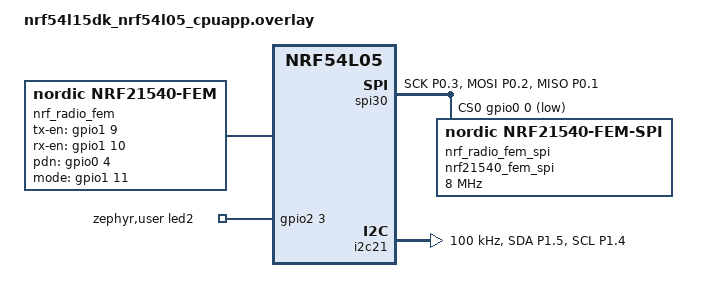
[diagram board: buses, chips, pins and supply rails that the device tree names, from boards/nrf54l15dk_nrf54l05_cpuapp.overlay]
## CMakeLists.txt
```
cmake_minimum_required(VERSION 3.20.0)

find_package(Zephyr REQUIRED HINTS $ENV{ZEPHYR_BASE})
project(range_pong LANGUAGES C CXX)

# The nPM2100 driver is shared with the main application, unmodified; the frame
# format is shared with tools/range_ping.
target_include_directories(app PRIVATE ../../src ../range_common)
target_sources(app PRIVATE
  src/main.cpp
  ../../src/npm2100.cpp
  ../../src/npm2100_zephyr.cpp
)
```

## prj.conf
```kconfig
# Range test, pong side - CLASS MFS_1 hardware. See ../range_ping/README.md.

CONFIG_CPP=y
CONFIG_STD_CPP20=y
CONFIG_REQUIRES_FULL_LIBCPP=y

CONFIG_GPIO=y

# The nPM2100 boot monitor must be stopped over I2C or it resets the SoC ~9 s
# after boot (see ../../src/app.cpp App::initPmic()).
CONFIG_I2C=y

# Observer (pings) and broadcaster (pongs), extended advertising on the Coded PHY.
CONFIG_BT=y
CONFIG_BT_OBSERVER=y
CONFIG_BT_BROADCASTER=y
CONFIG_BT_EXT_ADV=y
CONFIG_BT_CTLR_ADV_EXT=y
CONFIG_BT_CTLR_PHY_CODED=y
CONFIG_BT_EXT_ADV_CODING_SELECTION=y
CONFIG_BT_DEVICE_NAME="MFS1-RangePong"
CONFIG_BT_RX_STACK_SIZE=2048

# nRF21540 FEM, driven by MPSL: PA on transmit, LNA (+13 dB) on receive. POUTB
# (+10 dB) as alc_drawer_master, for Irish EIRP compliance: the controller splits
# the requested +10 dBm into 0 dBm from the SoC plus 10 dB from the FEM.
# Without this the FEM sits powered down in the RF path and both directions suffer.
CONFIG_MPSL_FEM=y
CONFIG_MPSL_FEM_NRF21540_GPIO_SPI=y
CONFIG_MPSL_FEM_NRF21540_TX_GAIN_DB=10
CONFIG_BT_CTLR_TX_PWR_ANTENNA=10

# The DK console UART (uart20) sits on P1.04 / P1.05 = the nPM2100 I2C bus here.
CONFIG_SERIAL=n
CONFIG_CONSOLE=n
CONFIG_UART_CONSOLE=n

# RTT logging (house style).
CONFIG_LOG=y
CONFIG_USE_SEGGER_RTT=y
CONFIG_LOG_BACKEND_RTT=y
CONFIG_LOG_BACKEND_UART=n

CONFIG_MAIN_STACK_SIZE=2048
```

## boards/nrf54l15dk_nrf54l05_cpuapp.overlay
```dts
/*
 * CLASS MFS_1 hardware, first full revision - range test pong.
 *
 *   I2C 1 (i2c21) - nPM2100 at 0x74: SCL P1.04, SDA P1.05 (boot monitor stop only)
 *   LED2 P2.03 - flashes on each new ping
 *   nRF21540 FEM, as alc_drawer_master: SPI (spi30) SCK P0.03, MOSI P0.02,
 *   MISO P0.01, CS P0.00; PDN P0.04, TX_EN P1.09, RX_EN P1.10, MODE P1.11.
 *   MPSL drives it - PA on transmit, LNA on receive.
 *
 * FIRE_1 P2.05 and FIRE_2 P2.09 are not referenced anywhere in this image and
 * stay at reset, held off by their external 10 k pull-downs.
 */

&pinctrl {
    i2c21_default: i2c21_default {
        group1 {
            psels = <NRF_PSEL(TWIM_SDA, 1, 5)>,
                    <NRF_PSEL(TWIM_SCL, 1, 4)>;
            bias-pull-up;
        };
    };

    i2c21_sleep: i2c21_sleep {
        group1 {
            psels = <NRF_PSEL(TWIM_SDA, 1, 5)>,
                    <NRF_PSEL(TWIM_SCL, 1, 4)>;
            low-power-enable;
        };
    };

    /* spi30, not spi22: P0 is in the 30-series domain on nRF54L. */
    spi30_default: spi30_default {
        group1 {
            psels = <NRF_PSEL(SPIM_SCK,  0, 3)>,
                    <NRF_PSEL(SPIM_MOSI, 0, 2)>,
                    <NRF_PSEL(SPIM_MISO, 0, 1)>;
        };
    };

    spi30_sleep: spi30_sleep {
        group1 {
            psels = <NRF_PSEL(SPIM_SCK,  0, 3)>,
                    <NRF_PSEL(SPIM_MOSI, 0, 2)>,
                    <NRF_PSEL(SPIM_MISO, 0, 1)>;
            low-power-enable;
        };
    };
};

&spi30 {
    status = "okay";
    pinctrl-0 = <&spi30_default>;
    pinctrl-1 = <&spi30_sleep>;
    pinctrl-names = "default", "sleep";
    cs-gpios = <&gpio0 0 GPIO_ACTIVE_LOW>;

    nrf_radio_fem_spi: nrf21540_fem_spi@0 {
        compatible = "nordic,nrf21540-fem-spi";
        status = "okay";
        reg = <0>;
        spi-max-frequency = <8000000>;
    };
};

&i2c21 {
    status = "okay";
    pinctrl-0 = <&i2c21_default>;
    pinctrl-1 = <&i2c21_sleep>;
    pinctrl-names = "default", "sleep";
    clock-frequency = <I2C_BITRATE_STANDARD>;
};

/* Not fitted / pins reused on this board. P2.05 (spi00 CS) is FIRE_1. */
&mx25r64 {
    status = "disabled";
};

&spi00 {
    status = "disabled";
};

&uart20 {
    status = "disabled";
};

/ {
    nrf_radio_fem: nrf21540_fem {
        compatible  = "nordic,nrf21540-fem";
        tx-en-gpios = <&gpio1  9 GPIO_ACTIVE_HIGH>;
        rx-en-gpios = <&gpio1 10 GPIO_ACTIVE_HIGH>;
        pdn-gpios   = <&gpio0  4 GPIO_ACTIVE_HIGH>;
        mode-gpios  = <&gpio1 11 GPIO_ACTIVE_HIGH>;
        spi-if      = <&nrf_radio_fem_spi>;
        /* Required by the built-in power model. */
        supply-voltage-mv = <3000>;
    };

    zephyr,user {
        led2-gpios = <&gpio2 3 GPIO_ACTIVE_HIGH>;
    };
};

/* Crystal load capacitance as in the main application's overlay: the radio
 * frequency depends on the HFXO trim. */
&hfxo {
    load-capacitance-femtofarad = <14000>;
};

&lfxo {
    load-capacitors = "internal";
    load-capacitance-femtofarad = <9000>;
};
```

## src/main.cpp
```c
#include <zephyr/bluetooth/bluetooth.h>
#include <zephyr/bluetooth/gap.h>
#include <zephyr/device.h>
#include <zephyr/drivers/gpio.h>
#include <zephyr/kernel.h>
#include <zephyr/logging/log.h>

#include "npm2100.hpp"
#include "npm2100_zephyr.hpp"
#include "range_protocol.hpp"

LOG_MODULE_REGISTER(range_pong, LOG_LEVEL_INF);

// Range test, pong side (CLASS MFS_1, nRF21540 FEM at +10 dB, LNA on receive).
//
// Scans the Coded PHY continuously. Each new ping sequence number from tools/range_ping
// flashes LED2 and is answered: the pong advertisement (Coded PHY S8) is updated to echo
// that sequence number and the RSSI the ping arrived at. The pong advertises until
// M_PONG_HOLD_MS passes with no ping, then stops.
//
// The fire pins are never touched: they stay at their reset state, held off by the
// external pull-downs.

namespace alc
{

  namespace
  {
    const struct device* const s_pmic_bus { DEVICE_DT_GET(DT_NODELABEL(i2c21)) };
    const gpio_dt_spec s_led2 = GPIO_DT_SPEC_GET(DT_PATH(zephyr_user), led2_gpios);

    constexpr int32_t M_LED_FLASH_MS { 100 };
    constexpr int32_t M_PONG_HOLD_MS { 5000 };
    constexpr int32_t M_SUMMARY_INTERVAL_MS { 10000 };

    struct PendingPing
    {
        uint16_t sequence;
        int8_t rssiDbm;
    };

    k_spinlock s_lock;
    PendingPing s_pending { 0, 0 };
    bool s_have_last { false };
    uint16_t s_last_sequence { 0 };
    uint32_t s_pings_heard { 0 };

    bt_le_ext_adv* s_adv { nullptr };
    bool s_advertising { false };
    uint8_t s_adv_buffer[range::M_PONG_LENGTH];

    void ledOff(k_work* work)
    {
      ARG_UNUSED(work);
      gpio_pin_set_dt(&s_led2, 0);
    }

    // System work queue: owns the advertising set, so start, update and stop never race.
    void sendPong(k_work* work)
    {
      PendingPing ping { 0, 0 };
      range::Frame frame { range::FrameType::Pong, 0, 0 };
      bt_data advertisingData {};
      int result { 0 };

      ARG_UNUSED(work);
      K_SPINLOCK(&s_lock)
      { ping = s_pending; }

      frame.sequence           = ping.sequence;
      frame.rssiDbm            = ping.rssiDbm;
      advertisingData.type     = BT_DATA_MANUFACTURER_DATA;
      advertisingData.data_len = static_cast<uint8_t>(range::Encode(frame, s_adv_buffer));
      advertisingData.data     = s_adv_buffer;

      result = bt_le_ext_adv_set_data(s_adv, &advertisingData, 1, nullptr, 0);
      if (result < 0) {
        LOG_ERR("Pong data update failed: %d!", result);
        return;
      }

      if (!s_advertising) {
        result = bt_le_ext_adv_start(s_adv, BT_LE_EXT_ADV_START_DEFAULT);
        if (result < 0) {
          LOG_ERR("Pong advertising start failed: %d!", result);
          return;
        }
        s_advertising = true;
      }

      LOG_INF("Ping %u at %d dBm - pong sent.", ping.sequence, ping.rssiDbm);
    }

    void stopPong(k_work* work)
    {
      int result { 0 };

      ARG_UNUSED(work);
      if (!s_advertising) { return; }

      result = bt_le_ext_adv_stop(s_adv);
      if (result < 0) {
        LOG_ERR("Pong advertising stop failed: %d!", result);
        return;
      }
      s_advertising = false;
      LOG_INF("No ping for %d ms - pong stopped.", M_PONG_HOLD_MS);
    }

    K_WORK_DELAYABLE_DEFINE(s_led_off_work, ledOff);
    K_WORK_DEFINE(s_pong_work, sendPong);
    K_WORK_DELAYABLE_DEFINE(s_pong_stop_work, stopPong);

    bool parseAdvertisingData(bt_data* data, void* userData)
    {
      auto* frame { static_cast<range::Frame*>(userData) };

      if (data->type != BT_DATA_MANUFACTURER_DATA) { return true; }
      if (range::Decode(data->data, data->data_len, *frame)) { return false; }
      return true;
    }

    // Bluetooth RX thread. The ping repeats about ten times per sequence number; only the first is answered.
    void onScanReceive(const bt_le_scan_recv_info* info, net_buf_simple* buffer)
    {
      range::Frame frame { range::FrameType::Pong, 0, 0 };
      bool fresh { false };

      bt_data_parse(buffer, parseAdvertisingData, &frame);
      if (frame.type != range::FrameType::Ping) { return; }

      K_SPINLOCK(&s_lock)
      {
        if (!s_have_last || frame.sequence != s_last_sequence) {
          s_have_last        = true;
          s_last_sequence    = frame.sequence;
          s_pending.sequence = frame.sequence;
          s_pending.rssiDbm  = info->rssi;
          s_pings_heard++;
          fresh = true;
        }
      }

      if (!fresh) { return; }
      gpio_pin_set_dt(&s_led2, 1);
      k_work_reschedule(&s_led_off_work, K_MSEC(M_LED_FLASH_MS));
      k_work_submit(&s_pong_work);
      k_work_reschedule(&s_pong_stop_work, K_MSEC(M_PONG_HOLD_MS));
    }

    bt_le_scan_cb s_scan_callbacks {
      .recv = onScanReceive,
    };

    // The nPM2100 boot monitor resets the SoC about 9 s after boot unless it is stopped.
    void stopBootMonitor()
    {
      Npm2100 pmic { npm2100_zephyr::MakeZephyrTransport(s_pmic_bus) };
      int result { pmic.Init() };

      if (result == 0) { result = pmic.TimerStop(); }
      if (result < 0) {
        LOG_ERR("Failed to stop the nPM2100 boot monitor: %d!", result);
        return;
      }
      LOG_INF("nPM2100 boot monitor stopped.");
    }

    int initRadio()
    {
      constexpr uint8_t M_ADV_SET_ID { 0 };
      const bt_le_adv_param advertisingParam {
        .id                 = BT_ID_DEFAULT,
        .sid                = M_ADV_SET_ID,
        .secondary_max_skip = 0,
        .options            = BT_LE_ADV_OPT_EXT_ADV | BT_LE_ADV_OPT_CODED | BT_LE_ADV_OPT_REQUIRE_S8_CODING,
        .interval_min       = range::M_ADV_INTERVAL,
        .interval_max       = range::M_ADV_INTERVAL,
        .peer               = nullptr,
      };
      bt_le_scan_param scanParam {};
      int result { bt_enable(nullptr) };

      if (result < 0) {
        LOG_ERR("Bluetooth init failed: %d!", result);
        return result;
      }

      result = bt_le_ext_adv_create(&advertisingParam, nullptr, &s_adv);
      if (result < 0) {
        LOG_ERR("Coded PHY advertising set create failed: %d!", result);
        return result;
      }

      bt_le_scan_cb_register(&s_scan_callbacks);
      scanParam.type     = BT_LE_SCAN_TYPE_PASSIVE;
      scanParam.options  = BT_LE_SCAN_OPT_CODED | BT_LE_SCAN_OPT_NO_1M;
      scanParam.interval = range::M_SCAN_INTERVAL;
      scanParam.window   = range::M_SCAN_WINDOW;
      result             = bt_le_scan_start(&scanParam, nullptr);
      if (result < 0) {
        LOG_ERR("Coded PHY scan start failed: %d!", result);
        return result;
      }

      LOG_INF("Listening for pings on Coded PHY; pongs at +10 dBm via the nRF21540, S8.");
      return 0;
    }

    int run()
    {
      uint32_t heard { 0 };
      uint32_t lastHeard { 0 };
      int result { 0 };

      if (!device_is_ready(s_pmic_bus) || !gpio_is_ready_dt(&s_led2)) {
        LOG_ERR("PMIC bus or LED2 GPIO not ready!");
        return -ENODEV;
      }

      LOG_INF("Range pong (MFS_1) boot.");
      stopBootMonitor();

      result = gpio_pin_configure_dt(&s_led2, GPIO_OUTPUT_INACTIVE);
      if (result < 0) {
        LOG_ERR("LED2 configure failed: %d!", result);
        return result;
      }

      result = initRadio();
      if (result < 0) { return result; }

      while (true) {
        k_msleep(M_SUMMARY_INTERVAL_MS);

        K_SPINLOCK(&s_lock)
        { heard = s_pings_heard; }
        LOG_INF("Pings heard: %u in the last %d s, %u total.", heard - lastHeard, M_SUMMARY_INTERVAL_MS / MSEC_PER_SEC, heard);
        lastHeard = heard;
      }

      return 0;
    }
  }

}

int main()
{ return alc::run(); }
```
